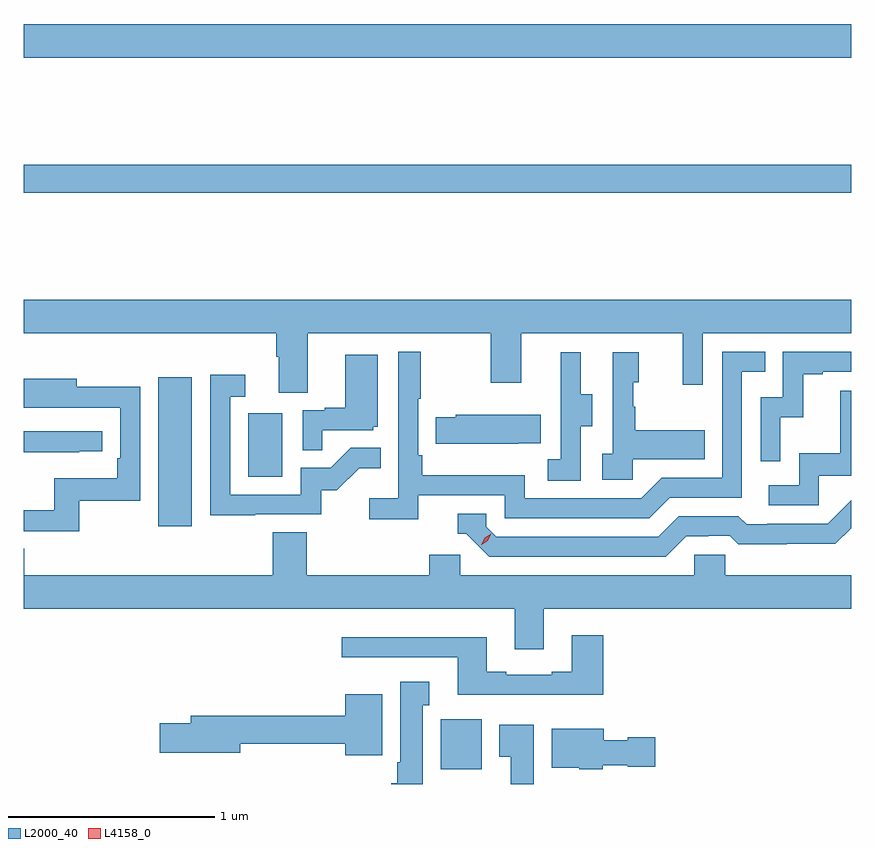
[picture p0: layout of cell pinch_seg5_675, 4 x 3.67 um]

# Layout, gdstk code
import gdstk
lib = gdstk.Library(unit=1e-6, precision=1e-09)
def R(c, l, rs):  # rectangles x0, y0, x1, y1
    for r in rs: c.add(gdstk.rectangle(r[:2], r[2:], *l))
def P(c, l, *ps):  # polygons
    for p in ps: c.add(gdstk.Polygon(p, *l))
L2000_40 = (2000, 40)
L4158_0 = (4158, 0)

pinch_seg5_675 = lib.new_cell('pinch_seg5_675')
R(pinch_seg5_675, L2000_40, [(1042.484,838.67,1042.681,838.912), (1041.119,839.844,1041.28,840.565), (1041.554,840.084,1041.718,840.391), (1040.468,841.456,1044.468,841.592), (1040.468,842.108,1044.468,842.272)])
P(pinch_seg5_675, L2000_40, [(1041.841,840.776),(1042.726,840.776),(1042.726,840.537),(1042.873,840.537),(1042.873,840.776),(1043.654,840.776),(1043.654,840.528),(1043.751,840.528),(1043.751,840.776),(1044.468,840.776),(1044.468,840.94),(1040.468,840.94),(1040.468,840.776),(1041.689,840.776),(1041.689,840.664),(1041.701,840.664),(1041.701,840.49),(1041.841,840.49)],
  [(1042.376,839.994),(1042.794,839.994),(1042.794,839.883),(1043.491,839.883),(1043.59,839.982),(1043.94,839.982),(1043.94,840.591),(1044.053,840.591),(1044.053,840.687),(1043.844,840.687),(1043.844,840.078),(1043.553,840.078),(1043.454,839.979),(1042.89,839.979),(1042.89,840.091),(1042.394,840.091),(1042.394,840.187),(1042.374,840.187),(1042.374,840.46),(1042.387,840.46),(1042.387,840.688),(1042.278,840.688),(1042.278,839.98),(1042.137,839.98),(1042.137,839.878),(1042.376,839.878)],
  [(1044.126,840.371),(1044.236,840.371),(1044.236,840.579),(1044.331,840.579),(1044.331,840.591),(1044.468,840.591),(1044.468,840.687),(1044.138,840.687),(1044.138,840.468),(1044.03,840.468),(1044.03,840.159),(1044.126,840.159)],
  [(1043.16,840.328),(1043.215,840.328),(1043.215,840.483),(1043.161,840.483),(1043.161,840.685),(1043.063,840.685),(1043.063,840.471),(1043.064,840.471),(1043.064,840.167),(1043.001,840.167),(1043.001,840.064),(1043.16,840.064)],
  [(1043.412,840.167),(1043.759,840.167),(1043.759,840.307),(1043.425,840.307),(1043.425,840.422),(1043.415,840.422),(1043.415,840.54),(1043.44,840.54),(1043.44,840.685),(1043.316,840.685),(1043.316,840.194),(1043.265,840.194),(1043.265,840.069),(1043.412,840.069)],
  [(1041.911,840.309),(1042.158,840.309),(1042.158,840.324),(1042.18,840.324),(1042.18,840.673),(1042.022,840.673),(1042.022,840.418),(1041.923,840.418),(1041.923,840.405),(1041.816,840.405),(1041.816,840.211),(1041.911,840.211)],
  [(1041.587,839.901),(1041.906,839.901),(1041.906,840.018),(1041.982,840.018),(1042.089,840.125),(1042.193,840.125),(1042.193,840.224),(1042.049,840.224),(1041.951,840.126),(1041.807,840.126),(1041.807,839.997),(1041.465,839.997),(1041.465,840.471),(1041.538,840.471),(1041.538,840.577),(1041.369,840.577),(1041.369,839.896),(1041.587,839.896)],
  [(1040.737,839.967),(1041.03,839.967),(1041.03,840.518),(1040.725,840.518),(1040.725,840.556),(1040.468,840.556),(1040.468,840.416),(1040.621,840.416),(1040.621,840.417),(1040.934,840.417),(1040.934,840.172),(1040.921,840.172),(1040.921,840.076),(1040.616,840.076),(1040.616,839.921),(1040.468,839.921),(1040.468,839.82),(1040.737,839.82)],
  [(1044.312,840.087),(1044.468,840.087),(1044.468,840.499),(1044.415,840.499),(1044.415,840.196),(1044.216,840.196),(1044.216,840.042),(1044.069,840.042),(1044.069,839.946),(1044.312,839.946)],
  [(1042.859,840.245),(1042.967,840.245),(1042.967,840.382),(1042.557,840.382),(1042.557,840.372),(1042.459,840.372),(1042.459,840.242),(1042.859,840.242)],
  [(1040.735,840.207),(1040.848,840.207),(1040.848,840.303),(1040.468,840.303),(1040.468,840.202),(1040.735,840.202)],
  [(1043.671,839.796),(1043.778,839.796),(1043.778,839.799),(1043.881,839.799),(1043.923,839.757),(1044.156,839.757),(1044.156,839.759),(1044.392,839.759),(1044.468,839.835),(1044.468,839.97),(1044.354,839.856),(1044.061,839.856),(1044.061,839.853),(1043.962,839.853),(1043.923,839.892),(1043.634,839.892),(1043.535,839.793),(1042.752,839.793),(1042.704,839.841),(1042.704,839.904),(1042.565,839.904),(1042.565,839.808),(1042.608,839.808),(1042.719,839.697),(1043.572,839.697)],
  [(1042.981,839.444),(1044.468,839.444),(1044.468,839.608),(1043.859,839.608),(1043.859,839.706),(1043.709,839.706),(1043.709,839.608),(1042.578,839.608),(1042.578,839.706),(1042.427,839.706),(1042.427,839.608),(1041.836,839.608),(1041.836,839.816),(1041.671,839.816),(1041.671,839.608),(1040.471,839.608),(1040.471,839.735),(1040.468,839.735),(1040.468,839.444),(1042.841,839.444),(1042.841,839.25),(1042.981,839.25)],
  [(1043.27,839.317),(1043.117,839.317),(1043.117,839.14),(1043.021,839.14),(1043.021,839.127),(1042.801,839.127),(1042.801,839.14),(1042.705,839.14),(1042.705,839.308),(1042.005,839.308),(1042.005,839.211),(1042.565,839.211),(1042.565,839.03),(1043.27,839.03)],
  [(1042.396,838.979),(1042.429,838.979),(1042.429,839.092),(1042.289,839.092),(1042.289,838.702),(1042.274,838.702),(1042.274,838.602),(1042.244,838.602),(1042.244,838.598),(1042.396,838.598)],
  [(1042.201,839.032),(1042.022,839.032),(1042.022,838.928),(1041.275,838.928),(1041.275,838.892),(1041.126,838.892),(1041.126,838.75),(1041.514,838.75),(1041.514,838.792),(1042.022,838.792),(1042.022,838.736),(1042.201,838.736)],
  [(1042.933,838.885),(1042.766,838.885),(1042.766,838.729),(1042.823,838.729),(1042.823,838.598),(1042.933,838.598)],
  [(1043.268,838.688),(1043.388,838.688),(1043.388,838.681),(1043.521,838.681),(1043.521,838.823),(1043.388,838.823),(1043.388,838.81),(1043.272,838.81),(1043.272,838.864),(1043.021,838.864),(1043.021,838.676),(1043.154,838.676),(1043.154,838.67),(1043.268,838.67)])
P(pinch_seg5_675, L4158_0, [(1042.68,839.755),(1042.68,839.755),(1042.697,839.788),(1042.728,839.808),(1042.728,839.808),(1042.728,839.807),(1042.712,839.775),(1042.681,839.755)])

lib.write_gds('pinch_seg5_675.gds')
